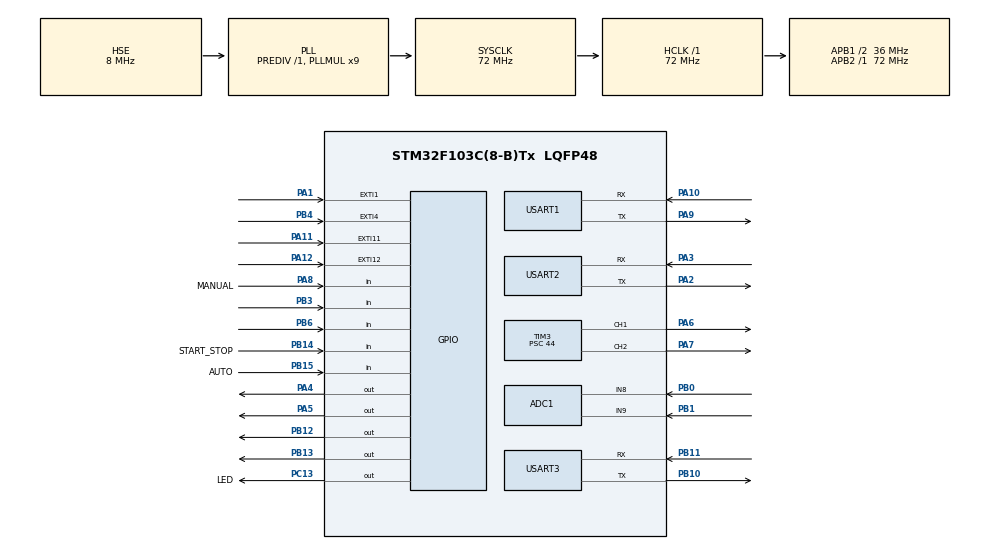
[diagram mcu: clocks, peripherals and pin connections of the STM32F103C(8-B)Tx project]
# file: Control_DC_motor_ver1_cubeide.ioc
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ADC1.Channel-1\#ChannelRegularConversion=ADC_CHANNEL_8
ADC1.Channel-2\#ChannelRegularConversion=ADC_CHANNEL_9
ADC1.ContinuousConvMode=ENABLE
ADC1.NbrOfConversion=2
ADC1.NbrOfConversionFlag=1
ADC1.Rank-1\#ChannelRegularConversion=1
ADC1.Rank-2\#ChannelRegularConversion=2
ADC1.SamplingTime-1\#ChannelRegularConversion=ADC_SAMPLETIME_239CYCLES_5
ADC1.SamplingTime-2\#ChannelRegularConversion=ADC_SAMPLETIME_239CYCLES_5
ADC1.master=1
Dma.ADC1.0.Direction=DMA_PERIPH_TO_MEMORY
Dma.ADC1.0.Instance=DMA1_Channel1
Dma.ADC1.0.MemDataAlignment=DMA_MDATAALIGN_HALFWORD
Dma.ADC1.0.MemInc=DMA_MINC_ENABLE
Dma.ADC1.0.Mode=DMA_CIRCULAR
Dma.ADC1.0.PeriphDataAlignment=DMA_PDATAALIGN_HALFWORD
Dma.ADC1.0.PeriphInc=DMA_PINC_DISABLE
Dma.ADC1.0.Priority=DMA_PRIORITY_LOW
Dma.Request0=ADC1
Mcu.Family=STM32F1
Mcu.Name=STM32F103C(8-B)Tx
Mcu.Package=LQFP48
NVIC.DMA1_Channel1_IRQn=true\:1\:0\:true\:false\:true\:false\:true\:true
NVIC.EXTI1_IRQn=true\:0\:0\:false\:false\:true\:true\:true\:true
NVIC.EXTI4_IRQn=true\:0\:0\:false\:false\:true\:true\:true\:true
NVIC.PriorityGroup=NVIC_PRIORITYGROUP_4
NVIC.TIM2_IRQn=true\:0\:0\:false\:false\:true\:true\:true\:true
NVIC.TIM4_IRQn=true\:1\:0\:true\:false\:true\:true\:true\:true
NVIC.USART1_IRQn=true\:0\:0\:true\:false\:true\:true\:true\:true
NVIC.USART2_IRQn=true\:0\:0\:true\:false\:true\:true\:true\:true
NVIC.USART3_IRQn=true\:0\:0\:true\:false\:true\:true\:true\:true
PA1.GPIO_ModeDefaultEXTI=GPIO_MODE_IT_RISING_FALLING
PA1.GPIO_PuPd=GPIO_PULLUP
PA1.Signal=GPXTI1
PA10.Mode=Asynchronous
PA10.Signal=USART1_RX
PA11.GPIO_ModeDefaultEXTI=GPIO_MODE_IT_RISING_FALLING
PA11.GPIO_PuPd=GPIO_PULLUP
PA11.Signal=GPXTI11
PA12.GPIO_ModeDefaultEXTI=GPIO_MODE_IT_RISING_FALLING
PA12.GPIO_PuPd=GPIO_PULLUP
PA12.Signal=GPXTI12
PA13.Mode=Serial_Wire
PA13.Signal=SYS_JTMS-SWDIO
PA14.Mode=Serial_Wire
PA14.Signal=SYS_JTCK-SWCLK
PA2.Mode=Asynchronous
PA2.Signal=USART2_TX
PA3.Mode=Asynchronous
PA3.Signal=USART2_RX
PA4.Signal=GPIO_Output
PA5.Signal=GPIO_Output
PA6.Signal=S_TIM3_CH1
PA7.Signal=S_TIM3_CH2
PA8.GPIO_Label=MANUAL
PA8.GPIO_PuPd=GPIO_PULLUP
PA8.Signal=GPIO_Input
PA9.Mode=Asynchronous
PA9.Signal=USART1_TX
PB0.Signal=ADCx_IN8
PB1.Signal=ADCx_IN9
PB10.Mode=Asynchronous
PB10.Signal=USART3_TX
PB11.Mode=Asynchronous
PB11.Signal=USART3_RX
PB12.Signal=GPIO_Output
PB13.Signal=GPIO_Output
PB14.GPIO_Label=START_STOP
PB14.GPIO_PuPd=GPIO_PULLUP
PB14.Signal=GPIO_Input
PB15.GPIO_Label=AUTO
PB15.GPIO_PuPd=GPIO_PULLUP
PB15.Signal=GPIO_Input
PB3.GPIO_PuPd=GPIO_PULLUP
PB3.Signal=GPIO_Input
PB4.GPIO_ModeDefaultEXTI=GPIO_MODE_IT_RISING_FALLING
PB4.GPIO_PuPd=GPIO_PULLUP
PB4.Signal=GPXTI4
PB6.GPIO_PuPd=GPIO_PULLUP
PB6.Signal=GPIO_Input
PC13-TAMPER-RTC.GPIO_Label=LED
PC13-TAMPER-RTC.Signal=GPIO_Output
PD0-OSC_IN.Mode=HSE-External-Oscillator
PD0-OSC_IN.Signal=RCC_OSC_IN
PD1-OSC_OUT.Mode=HSE-External-Oscillator
PD1-OSC_OUT.Signal=RCC_OSC_OUT
ProjectManager.HeapSize=0x200
ProjectManager.StackSize=0x400
ProjectManager.TargetToolchain=STM32CubeIDE
RCC.ADCPresc=RCC_ADCPCLK2_DIV6
RCC.AHBFreq_Value=72000000
RCC.APB1CLKDivider=RCC_HCLK_DIV2
RCC.APB1Freq_Value=36000000
RCC.APB1TimFreq_Value=72000000
RCC.APB2Freq_Value=72000000
RCC.APB2TimFreq_Value=72000000
RCC.HCLKFreq_Value=72000000
RCC.PLLMUL=RCC_PLL_MUL9
RCC.PLLSourceVirtual=RCC_PLLSOURCE_HSE
RCC.SYSCLKFreq_VALUE=72000000
RCC.SYSCLKSource=RCC_SYSCLKSOURCE_PLLCLK
RCC.USBFreq_Value=72000000
SH.ADCx_IN8.0=ADC1_IN8,IN8
SH.ADCx_IN9.0=ADC1_IN9,IN9
SH.S_TIM3_CH1.0=TIM3_CH1,PWM Generation1 CH1
SH.S_TIM3_CH2.0=TIM3_CH2,PWM Generation2 CH2
TIM2.Period=79
TIM2.Prescaler=35999
TIM3.Channel-PWM\ Generation1\ CH1=TIM_CHANNEL_1
TIM3.Channel-PWM\ Generation2\ CH2=TIM_CHANNEL_2
TIM3.Period=99
TIM3.Prescaler=44
TIM4.Period=19
TIM4.Prescaler=35999
USART1.VirtualMode=VM_ASYNC
USART2.VirtualMode=VM_ASYNC
USART3.VirtualMode=VM_ASYNC
VP_TIM2_VS_ClockSourceINT.Mode=Internal
VP_TIM4_VS_ClockSourceINT.Mode=Internal
board=custom

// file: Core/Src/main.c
/* USER CODE BEGIN Header */
/**
  ******************************************************************************
  * @file           : main.c
  * @brief          : đã cải thiện phần modify tuy nhiên phải chỉnh nếu như tốc độ là đi thẳng thì nên để offset là 0.02 còn khác nhau thì để là 0.01
  ******************************************************************************
  * @attention
  *
  * Copyright (c) 2025 STMicroelectronics.
  * All rights reserved.
  *
  * This software is licensed under terms that can be found in the LICENSE file
  * in the root directory of this software component.
  * If no LICENSE file comes with this software, it is provided AS-IS.
  *
  ******************************************************************************
  */
/* USER CODE END Header */
#include "main.h"

/* USER CODE BEGIN Includes */
#include "string.h"
#include "stdio.h"
#include "stdlib.h"
#include "math.h"
#include "stdbool.h"
#include "stdint.h"
/* USER CODE END Includes */

/* USER CODE BEGIN PTD */
#define pi 3.1415
#define p2r pi/2000
#define IN1_PIN GPIO_PIN_13
#define IN1_PORT GPIOB
#define IN2_PIN GPIO_PIN_12
#define IN2_PORT GPIOB
#define IN5_PIN GPIO_PIN_5
#define IN3_PORT GPIOA
#define IN4_PIN GPIO_PIN_4
#define IN4_PORT GPIOA
// Thêm define cho giá trị encoder
#define ENCODER_PPR 13.0f         // 13 xung/vòng trục động cơ
#define GEAR_RATIO 19.2f          // Tỉ số truyền
#define COUNTS_PER_REV (ENCODER_PPR * 2 * GEAR_RATIO) // 998.4 counts/vòng trục ra
#define UART_BUFFER_SIZE 50
#define UART_FRAME_SIZE 6
#define test false
/* USER CODE END PTD */

/* USER CODE BEGIN PM */
typedef struct {
    float err_p;
    float err_reset;
    float ui_p;
} PIDState;
typedef struct{
	float floatPresentX;
	float floatPresentY;
	float floatTheta;
}Coordinate;
typedef enum {
    ACTION_AUTO,
    ACTION_MANUAL,
    ACTION_SWASH,
	ACTION_UP,
	ACTION_DOWN,
	ACTION_RIGHT,
	ACTION_LEFT,
	ACTION_STOP,
    ACTION_DRY_WIPING,
	ACTION_WET_WIPING,
    ACTION_HOME_POINT,
    ACTION_HIGH_SPEED,
    ACTION_MEDIUM_SPEED,
    ACTION_LOW_SPEED,
    ACTION_NONE
} action_t;

// Bảng tra cứu ánh xạ chuỗi tới hành động
typedef struct {
    const char *command;
    action_t action;
} command_map_t;

// Bảng tra cứu các lệnh và hành động tương ứng
command_map_t command_map[] = {
    {"AUTO", ACTION_AUTO},
    {"MANUAL", ACTION_MANUAL},
    {"SWASH", ACTION_SWASH},
    {"7", ACTION_DRY_WIPING},
	{"6",ACTION_WET_WIPING},
    {"0", ACTION_HOME_POINT},
    {"H", ACTION_HIGH_SPEED},
    {"M", ACTION_MEDIUM_SPEED},
    {"L", ACTION_LOW_SPEED},
	{"1", ACTION_UP},
    {"2", ACTION_DOWN},
    {"3", ACTION_LEFT},
    {"4", ACTION_RIGHT},
    {"5", ACTION_STOP}
};
/* USER CODE END PM */

ADC_HandleTypeDef hadc1;
DMA_HandleTypeDef hdma_adc1;

TIM_HandleTypeDef htim2;
TIM_HandleTypeDef htim3;
TIM_HandleTypeDef htim4;

UART_HandleTypeDef huart1;
UART_HandleTypeDef huart2;
UART_HandleTypeDef huart3;

/* USER CODE BEGIN PV */
int32_t PosCnt_phai,Cnttmp_phai;
int16_t CountValue_phai=0,RealVel_phai,HILIM_phai = 100,LOLIM_phai = 0;
uint16_t CntVel_phai;
int8_t pwm_phai;
 float CurPos_phai=0,CurVel_phai;

int32_t PosCnt_trai,Cnttmp_trai;
int16_t CountValue_trai=0,RealVel_trai,HILIM_trai = 100,LOLIM_trai = 0;
uint16_t CntVel_trai;
int8_t pwm_trai;
float CurPos_trai=0,CurVel_trai;

float tmp_curvel_phai=0.0,tmp_curvel_trai=0.0;

float sampletime_phai = 0.05;
float sampletime_trai = 0.05;
float real_setpoint_phai, real_setpoint_trai;
PIDState pid_right = {0};
PIDState pid_left  = {0};
float Kd_phai =0,Ki_phai=4.0, Kp_phai= 4.152, Kb_phai=0.64;
//float Kd_phai =0,Ki_phai=0, Kp_phai= 0, Kb_phai=0;

float Kd_trai =0,Ki_trai=5.5, Kp_trai= 4.152, Kb_trai=0.81;
//float Kd_trai =0,Ki_trai=0, Kp_trai= 0, Kb_trai=0;
bool reset_pwmphai = false, reset_pwmtrai=false;

float floatWheelBase =0.568;
float floatWheelRadius = 0.0725;

float floatPresentDestinationCoordinate[2];

float floatDestinationCoordinate[20][2];
int8_t position =0;
float floatInitialPosition[2];

Coordinate CoordinateRobot={0.0f,0.0f,0.0f};

float floatAngleOfTheVector,floatAngleToRotate;

float floatOmegaErrorDefault = 0.01,floatOmegaSetpoint,floatOmegaSpeedDefault = 0.4;

float floatDistanceToGo,floatDistanceErrorDefault = 0.01,floatDistanceWent=0.02;
float floatUpdateDistanceWent_X=0, floatUpdateDistanceWent_Y=0;
int path_size = 0;

//---------------------------receive velocity from esp---------------------
char uart1_buffer[UART_BUFFER_SIZE];
uint8_t uart1_index = 0;
uint8_t data_ready_uart1 = 0;
uint8_t rx_data_uart1;
volatile float DesiredSpeed_trai=0.0f,DesiredSpeed_phai=0.0f;
//---------------------------receive velocity from esp---------------------

//---------------------------send real velocity to ros2--------------------
uint8_t tx_buf_stm32_ros2[23];
//---------------------------send real velocity to ros2--------------------
//---------------------------function: BRUSHING--------------------
uint8_t uart3_buffer[UART_BUFFER_SIZE];
uint8_t uart3_index = 0;
uint8_t data_ready_uart3 = 0;
uint8_t rx_data_uart3;
//---------------------------end function: BRUSHING--------------------
//---------------------------pc xuống-------------------------------
//char uart2_buffer[UART_BUFFER_SIZE];
//uint8_t uart2_index = 0;
//uint8_t data_ready_uart2 = 0;
uint8_t rx_data_uart2;
/*cải tiến nhận giá trị từ minipc*/

uint8_t uart2_rx_buffer[UART_FRAME_SIZE];
uint8_t uart2_rx_index = 0;
int16_t w_left,w_right;
//--------------------------manual and auto-----------------------------
bool 	is_auto							  = false;
bool	is_auto_app 					  = false;
bool    u8stop_wipe 					  = false;
bool    u8send_sWIPE 					  = false;

bool    bool_is_waiting_uart3 			  = false;

bool    boolSendWASHINGByUart3      	  = false;
bool    boolSendDRYWIPINGByUart3   		  = false;
bool	boolSendHOMEPointByUart3		  = false;
bool	boolSendHighSpeedByUart3		  = false;
bool	boolSendMediumSpeedByUart3		  = false;
bool	boolSendLowSpeedByUart3			  = false;

bool    boolReceivedSWASHByUart1		  = false;
bool	boolReceivedDryWipingByUart1	  = false;
bool	boolReceivedHomePointByUart1	  = false;
bool	boolReceivedHighSpeedByUart1	  = false;
bool	boolReceivedMediumSpeedByUart1	  = false;
bool	boolReceivedLowSpeedByUart1	 	  = false;
bool	boolReceivedWetWipingByUart1	  = false;

bool	boolReceivedEWASHByUart3		  = false;
bool	boolReceivedFBHOMEByUart3		  = false;
bool	boolReceivedWIPEDByUart3		  = false;

/*-------------------------Cam bien sieu am----------------------------*/
uint16_t u16ultrasonic_values[2];
uint32_t u32distance_s1=0,u32distance_s2=0; /*parameter: mm*/
bool bool_dodge = false;
bool bool_dodge_left  = false;
bool bool_adc_ready   = false;
/*------------------------Bảng điều khiển vật lí-----------------------*/

bool bool_is_start = false;
bool bool_is_auto_controller = false;

/*-----------------------he so loc nhieu EMA----------------------------*/
float previous_CntVel_phai = 0.0f;
float previous_CntVel_trai = 0.0f;
float alpha = 0.1f;
action_t action;
/**/

/* USER CODE END PV */

void SystemClock_Config(void);
static void MX_GPIO_Init(void);
static void MX_DMA_Init(void);
static void MX_TIM2_Init(void);
static void MX_TIM3_Init(void);
static void MX_TIM4_Init(void);
static void MX_USART1_UART_Init(void);
static void MX_USART3_UART_Init(void);
static void MX_USART2_UART_Init(void);
static void MX_ADC1_Init(void);

/* USER CODE BEGIN 0 */

int PIDVel(float DesiredValue, float CurrentValue,
           float kp, float ki, float kd, float kb,
           float sampletime,
           int hilim, int lolim,
           PIDState* state,bool reset);
float EMA_Filter(int current_value, float previous_value) ;
float Left_Modify_Setpoint(float setpoint);
float Right_Modify_Setpoint(float setpoint);
void sendCommand_uart1(char* cmd);
void sendCommand_uart3(char* cmd);
void Process_UART3_Data(char *cmd);
void Process_UART2_Data(float *left_speed, float *right_speed);
void perform_action(action_t action);
action_t get_action_from_buffer(const char *buffer);
void stopmotor();
void generate_U_path(float startX, float startY, float length, float width, float path[][2], int *path_size) ;
float normalize_theta(float theta);
void send_odometry_binary(float x, float y, float theta);
/* FILE is typedef'd in stdio.h. */
//---------------------------end setpoint modify----------------------------

/*=====================================các hàm khác=====================================*/

/* USER CODE END 0 */

int main(void)
{

  /* MCU Configuration--------------------------------------------------------*/

  /* Reset of all peripherals, Initializes the Flash interface and the Systick. */
  HAL_Init();

  /* Configure the system clock */
  SystemClock_Config();

  /* Initialize all configured peripherals */
  MX_GPIO_Init();
  MX_DMA_Init();
  MX_TIM2_Init();
  MX_TIM3_Init();
  MX_TIM4_Init();
  MX_USART1_UART_Init();
  MX_USART3_UART_Init();
  MX_USART2_UART_Init();
  MX_ADC1_Init();
  /* USER CODE BEGIN 2 */
  /* Khoi tao IN cua dong co*/
	HAL_GPIO_WritePin(IN1_PORT, IN1_PIN, GPIO_PIN_RESET);
	HAL_GPIO_WritePin(IN2_PORT, IN2_PIN, GPIO_PIN_RESET);
	HAL_GPIO_WritePin(IN3_PORT, IN5_PIN, GPIO_PIN_RESET);
	HAL_GPIO_WritePin(IN4_PORT, IN4_PIN, GPIO_PIN_RESET);

	HAL_TIM_Base_Start_IT(&htim2);				// khoi tao timer 2
	HAL_TIM_PWM_Start(&htim3, TIM_CHANNEL_2);	// khoi tao timer 3
	HAL_TIM_PWM_Start(&htim3, TIM_CHANNEL_1);	// khoi tao timer 3
	HAL_TIM_Base_Start_IT(&htim4);				// khoi tao timer 4

	HAL_UART_Receive_IT(&huart1,&rx_data_uart1,1);
	HAL_UART_Receive_IT(&huart2,&rx_data_uart2,1);
	HAL_UART_Receive_IT(&huart3,&rx_data_uart3,1);

	HAL_ADC_Start_DMA(&hadc1, (uint32_t*)u16ultrasonic_values, 2);
	  /*đọc các nút nhấn từ bảng điều khiển vật lí trên xe*/

	  /*nhấn nút start thì nếu trên app mode không trùng với trên bản điều khiển robot sẽ không chạy */

  /* USER CODE END 2 */

  /* Infinite loop */
  while (1)
  {

    /* USER CODE BEGIN 3 */
	  /* Đọc giá trị adc bằng cản biến siêu âm < 0.25m thì động cơ dừng (kích cờ bool_dodge để set cho xe dừng  */
#if(test == false)
	  if(bool_adc_ready)
	  {
		bool_adc_ready = false;
		u32distance_s1 = (uint32_t)(((float)u16ultrasonic_values[0] * 3.3f / 4096.0f) * 1000.0f);
		u32distance_s2 = (uint32_t)(((float)u16ultrasonic_values[1] * 3.3f / 4096.0f) * 1000.0f);
		if (u32distance_s1 < 100 || u32distance_s2 < 100) {
			stopmotor();
		}
	  }

	  /*Nhận chuỗi từ esp32 và trả về esp32 để kiểm tra xem đã họat động chưa*/

#if (is_auto == true)
	  if(1 == data_ready_uart1)
	  {
	      data_ready_uart1 = 0;
	      action = get_action_from_buffer(uart1_buffer);
	      perform_action(action);
	  }
	  /*kiểm tra xem mode trên app và mode trên bảng điều khiển */
	  /*cần thêm một chuỗi uart báo mode chưa có trùng nhau*/
	  if (true == is_auto_app || true == bool_is_auto_controller)
	  {
		  is_auto = true;
	  }
	  else if(false == is_auto_app || false == bool_is_auto_controller)
	  {
		  is_auto = false;
	  }

#endif

	  		/*MANUAL MODE*/
#if(is_auto == false)
	  		{
	  			if (data_ready_uart1 && !boolReceivedSWASHByUart1 && !bool_dodge)
	  			{
	  				perform_action(action);
	  				data_ready_uart1 = 0;
	  			}
	  			/*--------------end cac mode co ban ----------------*/
	  			if (boolReceivedSWASHByUart1)
	  			{
	  				stopmotor();
	  				/*gửi lệnh để cho stm2 thực hiện chế độ giặt giẻ*/
	  	        	sendCommand_uart3("SWASH\n");
	  	        	boolReceivedSWASHByUart1 = false;
	  			}
	  			else if(boolReceivedEWASHByUart3)	{
	  	        	/*gửi lại tín hiệu để báo nhấn nút giặt rồi*/
	  	            /*khi chưa nhận được tín hiệu đã kết thúc quá trình giặt*/
	  				sendCommand_uart1("8");
	  				boolReceivedEWASHByUart3 = false;
	  			}
	  			/*che do lau kho hoac uot*/
	  			else if (boolReceivedDryWipingByUart1)
	  			{
	  				sendCommand_uart3("7\n");
	  				boolReceivedDryWipingByUart1 = false;
	  			}
	  			else if (boolReceivedWetWipingByUart1)
	  			{
	  				sendCommand_uart3("6\n");
	  				boolReceivedWetWipingByUart1 = false;
	  			}

	  			/*che do lau manh=>yeu*/
	  			else if (boolReceivedHighSpeedByUart1)
	  			{
	  				sendCommand_uart3("H\n");
	  				boolReceivedHighSpeedByUart1 = false;
	  			}
	  			else if (boolReceivedMediumSpeedByUart1)
	  			{
	  				sendCommand_uart3("M\n");
	  				boolReceivedMediumSpeedByUart1 = false;
	  			}
	  			else if (boolReceivedLowSpeedByUart1)
	  			{
	  				sendCommand_uart3("L\n");
	  				boolReceivedLowSpeedByUart1 = false;
	  			}
	  			/*Check da lau ok chua*/
	  			else if(boolReceivedWIPEDByUart3)
	  			{
	  				sendCommand_uart1("W");
	  				boolReceivedWIPEDByUart3 = false;
	  			}
	  			/*Quay ve diem Home*/
	  			else if (boolReceivedHomePointByUart1)
	  			{
	  				sendCommand_uart3("0\n");
	  				boolReceivedHomePointByUart1 = false;
	  			}

	  		}
#endif
#endif
#if (test == false)
	  	  if(1 == data_ready_uart1)
	  	  {
	  	      data_ready_uart1 = 0;
	  	      action = get_action_from_buffer(uart1_buffer);
	  	      perform_action(action);
	  	  }
#endif
  }
  /* USER CODE END 3 */
}

void SystemClock_Config(void)
{
  RCC_OscInitTypeDef RCC_OscInitStruct = {0};
  RCC_ClkInitTypeDef RCC_ClkInitStruct = {0};
  RCC_PeriphCLKInitTypeDef PeriphClkInit = {0};

  /** Initializes the RCC Oscillators according to the specified parameters
  * in the RCC_OscInitTypeDef structure.
  */
  RCC_OscInitStruct.OscillatorType = RCC_OSCILLATORTYPE_HSE;
  RCC_OscInitStruct.HSEState = RCC_HSE_ON;
  RCC_OscInitStruct.HSEPredivValue = RCC_HSE_PREDIV_DIV1;
  RCC_OscInitStruct.HSIState = RCC_HSI_ON;
  RCC_OscInitStruct.PLL.PLLState = RCC_PLL_ON;
  RCC_OscInitStruct.PLL.PLLSource = RCC_PLLSOURCE_HSE;
  RCC_OscInitStruct.PLL.PLLMUL = RCC_PLL_MUL9;
  if (HAL_RCC_OscConfig(&RCC_OscInitStruct) != HAL_OK)
  {
    Error_Handler();
  }

  /** Initializes the CPU, AHB and APB buses clocks
  */
  RCC_ClkInitStruct.ClockType = RCC_CLOCKTYPE_HCLK|RCC_CLOCKTYPE_SYSCLK
                              |RCC_CLOCKTYPE_PCLK1|RCC_CLOCKTYPE_PCLK2;
  RCC_ClkInitStruct.SYSCLKSource = RCC_SYSCLKSOURCE_PLLCLK;
  RCC_ClkInitStruct.AHBCLKDivider = RCC_SYSCLK_DIV1;
  RCC_ClkInitStruct.APB1CLKDivider = RCC_HCLK_DIV2;
  RCC_ClkInitStruct.APB2CLKDivider = RCC_HCLK_DIV1;

  if (HAL_RCC_ClockConfig(&RCC_ClkInitStruct, FLASH_LATENCY_2) != HAL_OK)
  {
    Error_Handler();
  }
  PeriphClkInit.PeriphClockSelection = RCC_PERIPHCLK_ADC;
  PeriphClkInit.AdcClockSelection = RCC_ADCPCLK2_DIV6;
  if (HAL_RCCEx_PeriphCLKConfig(&PeriphClkInit) != HAL_OK)
  {
    Error_Handler();
  }
}

static void MX_ADC1_Init(void)
{

  ADC_ChannelConfTypeDef sConfig = {0};

  /** Common config
  */
  hadc1.Instance = ADC1;
  hadc1.Init.ScanConvMode = ADC_SCAN_ENABLE;
  hadc1.Init.ContinuousConvMode = ENABLE;
  hadc1.Init.DiscontinuousConvMode = DISABLE;
  hadc1.Init.ExternalTrigConv = ADC_SOFTWARE_START;
  hadc1.Init.DataAlign = ADC_DATAALIGN_RIGHT;
  hadc1.Init.NbrOfConversion = 2;
  if (HAL_ADC_Init(&hadc1) != HAL_OK)
  {
    Error_Handler();
  }

  /** Configure Regular Channel
  */
  sConfig.Channel = ADC_CHANNEL_8;
  sConfig.Rank = ADC_REGULAR_RANK_1;
  sConfig.SamplingTime = ADC_SAMPLETIME_239CYCLES_5;
  if (HAL_ADC_ConfigChannel(&hadc1, &sConfig) != HAL_OK)
  {
    Error_Handler();
  }

  /** Configure Regular Channel
  */
  sConfig.Channel = ADC_CHANNEL_9;
  sConfig.Rank = ADC_REGULAR_RANK_2;
  if (HAL_ADC_ConfigChannel(&hadc1, &sConfig) != HAL_OK)
  {
    Error_Handler();
  }

}

static void MX_TIM2_Init(void)
{

  TIM_ClockConfigTypeDef sClockSourceConfig = {0};
  TIM_MasterConfigTypeDef sMasterConfig = {0};

  htim2.Instance = TIM2;
  htim2.Init.Prescaler = 35999;
  htim2.Init.CounterMode = TIM_COUNTERMODE_UP;
  htim2.Init.Period = 79;
  htim2.Init.ClockDivision = TIM_CLOCKDIVISION_DIV1;
  htim2.Init.AutoReloadPreload = TIM_AUTORELOAD_PRELOAD_DISABLE;
  if (HAL_TIM_Base_Init(&htim2) != HAL_OK)
  {
    Error_Handler();
  }
  sClockSourceConfig.ClockSource = TIM_CLOCKSOURCE_INTERNAL;
  if (HAL_TIM_ConfigClockSource(&htim2, &sClockSourceConfig) != HAL_OK)
  {
    Error_Handler();
  }
  sMasterConfig.MasterOutputTrigger = TIM_TRGO_RESET;
  sMasterConfig.MasterSlaveMode = TIM_MASTERSLAVEMODE_DISABLE;
  if (HAL_TIMEx_MasterConfigSynchronization(&htim2, &sMasterConfig) != HAL_OK)
  {
    Error_Handler();
  }

}

static void MX_TIM3_Init(void)
{

  TIM_MasterConfigTypeDef sMasterConfig = {0};
  TIM_OC_InitTypeDef sConfigOC = {0};

  htim3.Instance = TIM3;
  htim3.Init.Prescaler = 44;
  htim3.Init.CounterMode = TIM_COUNTERMODE_UP;
  htim3.Init.Period = 99;
  htim3.Init.ClockDivision = TIM_CLOCKDIVISION_DIV1;
  htim3.Init.AutoReloadPreload = TIM_AUTORELOAD_PRELOAD_DISABLE;
  if (HAL_TIM_PWM_Init(&htim3) != HAL_OK)
  {
    Error_Handler();
  }
  sMasterConfig.MasterOutputTrigger = TIM_TRGO_RESET;
  sMasterConfig.MasterSlaveMode = TIM_MASTERSLAVEMODE_DISABLE;
  if (HAL_TIMEx_MasterConfigSynchronization(&htim3, &sMasterConfig) != HAL_OK)
  {
    Error_Handler();
  }
  sConfigOC.OCMode = TIM_OCMODE_PWM1;
  sConfigOC.Pulse = 0;
  sConfigOC.OCPolarity = TIM_OCPOLARITY_HIGH;
  sConfigOC.OCFastMode = TIM_OCFAST_DISABLE;
  if (HAL_TIM_PWM_ConfigChannel(&htim3, &sConfigOC, TIM_CHANNEL_1) != HAL_OK)
  {
    Error_Handler();
  }
  if (HAL_TIM_PWM_ConfigChannel(&htim3, &sConfigOC, TIM_CHANNEL_2) != HAL_OK)
  {
    Error_Handler();
  }
  HAL_TIM_MspPostInit(&htim3);

}

static void MX_TIM4_Init(void)
{

  TIM_ClockConfigTypeDef sClockSourceConfig = {0};
  TIM_MasterConfigTypeDef sMasterConfig = {0};

  htim4.Instance = TIM4;
  htim4.Init.Prescaler = 35999;
  htim4.Init.CounterMode = TIM_COUNTERMODE_UP;
  htim4.Init.Period = 19;
  htim4.Init.ClockDivision = TIM_CLOCKDIVISION_DIV1;
  htim4.Init.AutoReloadPreload = TIM_AUTORELOAD_PRELOAD_DISABLE;
  if (HAL_TIM_Base_Init(&htim4) != HAL_OK)
  {
    Error_Handler();
  }
  sClockSourceConfig.ClockSource = TIM_CLOCKSOURCE_INTERNAL;
  if (HAL_TIM_ConfigClockSource(&htim4, &sClockSourceConfig) != HAL_OK)
  {
    Error_Handler();
  }
  sMasterConfig.MasterOutputTrigger = TIM_TRGO_RESET;
  sMasterConfig.MasterSlaveMode = TIM_MASTERSLAVEMODE_DISABLE;
  if (HAL_TIMEx_MasterConfigSynchronization(&htim4, &sMasterConfig) != HAL_OK)
  {
    Error_Handler();
  }

}

static void MX_USART1_UART_Init(void)
{

  huart1.Instance = USART1;
  huart1.Init.BaudRate = 115200;
  huart1.Init.WordLength = UART_WORDLENGTH_8B;
  huart1.Init.StopBits = UART_STOPBITS_1;
  huart1.Init.Parity = UART_PARITY_NONE;
  huart1.Init.Mode = UART_MODE_TX_RX;
  huart1.Init.HwFlowCtl = UART_HWCONTROL_NONE;
  huart1.Init.OverSampling = UART_OVERSAMPLING_16;
  if (HAL_UART_Init(&huart1) != HAL_OK)
  {
    Error_Handler();
  }

}

static void MX_USART2_UART_Init(void)
{

  huart2.Instance = USART2;
  huart2.Init.BaudRate = 115200;
  huart2.Init.WordLength = UART_WORDLENGTH_8B;
  huart2.Init.StopBits = UART_STOPBITS_1;
  huart2.Init.Parity = UART_PARITY_NONE;
  huart2.Init.Mode = UART_MODE_TX_RX;
  huart2.Init.HwFlowCtl = UART_HWCONTROL_NONE;
  huart2.Init.OverSampling = UART_OVERSAMPLING_16;
  if (HAL_UART_Init(&huart2) != HAL_OK)
  {
    Error_Handler();
  }

}

static void MX_USART3_UART_Init(void)
{

  huart3.Instance = USART3;
  huart3.Init.BaudRate = 115200;
  huart3.Init.WordLength = UART_WORDLENGTH_8B;
  huart3.Init.StopBits = UART_STOPBITS_1;
  huart3.Init.Parity = UART_PARITY_NONE;
  huart3.Init.Mode = UART_MODE_TX_RX;
  huart3.Init.HwFlowCtl = UART_HWCONTROL_NONE;
  huart3.Init.OverSampling = UART_OVERSAMPLING_16;
  if (HAL_UART_Init(&huart3) != HAL_OK)
  {
    Error_Handler();
  }

}

static void MX_DMA_Init(void)
{

  /* DMA controller clock enable */
  __HAL_RCC_DMA1_CLK_ENABLE();

  /* DMA interrupt init */
  /* DMA1_Channel1_IRQn interrupt configuration */
  HAL_NVIC_SetPriority(DMA1_Channel1_IRQn, 1, 0);
  HAL_NVIC_EnableIRQ(DMA1_Channel1_IRQn);

}

static void MX_GPIO_Init(void)
{
  GPIO_InitTypeDef GPIO_InitStruct = {0};

  /* GPIO Ports Clock Enable */
  __HAL_RCC_GPIOC_CLK_ENABLE();
  __HAL_RCC_GPIOD_CLK_ENABLE();
  __HAL_RCC_GPIOA_CLK_ENABLE();
  __HAL_RCC_GPIOB_CLK_ENABLE();

  /*Configure GPIO pin Output Level */
  HAL_GPIO_WritePin(LED_GPIO_Port, LED_Pin, GPIO_PIN_RESET);

  /*Configure GPIO pin Output Level */
  HAL_GPIO_WritePin(GPIOA, GPIO_PIN_4|GPIO_PIN_5, GPIO_PIN_RESET);

  /*Configure GPIO pin Output Level */
  HAL_GPIO_WritePin(GPIOB, GPIO_PIN_12|GPIO_PIN_13, GPIO_PIN_RESET);

  /*Configure GPIO pin : LED_Pin */
  GPIO_InitStruct.Pin = LED_Pin;
  GPIO_InitStruct.Mode = GPIO_MODE_OUTPUT_PP;
  GPIO_InitStruct.Pull = GPIO_NOPULL;
  GPIO_InitStruct.Speed = GPIO_SPEED_FREQ_LOW;
  HAL_GPIO_Init(LED_GPIO_Port, &GPIO_InitStruct);

  /*Configure GPIO pins : PA1 PA11 PA12 */
  GPIO_InitStruct.Pin = GPIO_PIN_1|GPIO_PIN_11|GPIO_PIN_12;
  GPIO_InitStruct.Mode = GPIO_MODE_IT_RISING_FALLING;
  GPIO_InitStruct.Pull = GPIO_PULLUP;
  HAL_GPIO_Init(GPIOA, &GPIO_InitStruct);

  /*Configure GPIO pins : PA4 PA5 */
  GPIO_InitStruct.Pin = GPIO_PIN_4|GPIO_PIN_5;
  GPIO_InitStruct.Mode = GPIO_MODE_OUTPUT_PP;
  GPIO_InitStruct.Pull = GPIO_NOPULL;
  GPIO_InitStruct.Speed = GPIO_SPEED_FREQ_LOW;
  HAL_GPIO_Init(GPIOA, &GPIO_InitStruct);

  /*Configure GPIO pins : PB12 PB13 */
  GPIO_InitStruct.Pin = GPIO_PIN_12|GPIO_PIN_13;
  GPIO_InitStruct.Mode = GPIO_MODE_OUTPUT_PP;
  GPIO_InitStruct.Pull = GPIO_NOPULL;
  GPIO_InitStruct.Speed = GPIO_SPEED_FREQ_LOW;
  HAL_GPIO_Init(GPIOB, &GPIO_InitStruct);

  /*Configure GPIO pins : START_STOP_Pin AUTO_Pin PB3 PB6 */
  GPIO_InitStruct.Pin = START_STOP_Pin|AUTO_Pin|GPIO_PIN_3|GPIO_PIN_6;
  GPIO_InitStruct.Mode = GPIO_MODE_INPUT;
  GPIO_InitStruct.Pull = GPIO_PULLUP;
  HAL_GPIO_Init(GPIOB, &GPIO_InitStruct);

  /*Configure GPIO pin : MANUAL_Pin */
  GPIO_InitStruct.Pin = MANUAL_Pin;
  GPIO_InitStruct.Mode = GPIO_MODE_INPUT;
  GPIO_InitStruct.Pull = GPIO_PULLUP;
  HAL_GPIO_Init(MANUAL_GPIO_Port, &GPIO_InitStruct);

  /*Configure GPIO pin : PB4 */
  GPIO_InitStruct.Pin = GPIO_PIN_4;
  GPIO_InitStruct.Mode = GPIO_MODE_IT_RISING_FALLING;
  GPIO_InitStruct.Pull = GPIO_PULLUP;
  HAL_GPIO_Init(GPIOB, &GPIO_InitStruct);

  /* EXTI interrupt init*/
  HAL_NVIC_SetPriority(EXTI1_IRQn, 0, 0);
  HAL_NVIC_EnableIRQ(EXTI1_IRQn);

  HAL_NVIC_SetPriority(EXTI4_IRQn, 0, 0);
  HAL_NVIC_EnableIRQ(EXTI4_IRQn);

}

/* USER CODE BEGIN 4 */
// Hàm ánh xạ các chuỗi đến hành động
action_t get_action_from_buffer(const char *buffer) {
    for (int i = 0; i < sizeof(command_map) / sizeof(command_map[0]); i++) {
        if (strstr(buffer, command_map[i].command) != NULL) {
            return command_map[i].action;
        }
    }
    return ACTION_NONE;
}

// Hàm thực hiện hành động theo mã hành động
void perform_action(action_t action) {
    switch (action) {
        case ACTION_AUTO:
            is_auto_app = true;
            sendCommand_uart3("AUTO\n");
            sendCommand_uart1("5");
            break;
        case ACTION_MANUAL:
            is_auto_app = false;
            sendCommand_uart3("MANUAL\n");
            sendCommand_uart1("6");
            break;
        case ACTION_SWASH:
            boolReceivedSWASHByUart1 = 1;
            sendCommand_uart1("8");
            break;
        case ACTION_DRY_WIPING:
            boolReceivedDryWipingByUart1 = true;
            sendCommand_uart1("9");
            break;
        case ACTION_WET_WIPING:
            boolReceivedWetWipingByUart1 = true;
            sendCommand_uart1("7");
            break;
        case ACTION_HOME_POINT:
            boolReceivedHomePointByUart1 = true;
            break;
        case ACTION_HIGH_SPEED:
            boolReceivedHighSpeedByUart1 = true;
            break;
        case ACTION_MEDIUM_SPEED:
            boolReceivedMediumSpeedByUart1 = true;
            break;
        case ACTION_LOW_SPEED:
            boolReceivedLowSpeedByUart1 = true;
            break;
        case ACTION_UP:
            DesiredSpeed_phai = 8.257;
            DesiredSpeed_trai = 8.257;
            break;
        case ACTION_DOWN:
            DesiredSpeed_phai = -8.257;
            DesiredSpeed_trai = -8.257;
            break;
        case ACTION_RIGHT:
            DesiredSpeed_phai = -1.567;
            DesiredSpeed_trai = 1.567;
            break;
        case ACTION_LEFT:
            DesiredSpeed_phai = 1.567;
            DesiredSpeed_trai = -1.567;
            break;
        case ACTION_STOP:
            DesiredSpeed_phai = 0.0;
            DesiredSpeed_trai = 0.0;
            break;
        default:
            break;
    }
}

//void Process_UART2_Data(float *left_speed, float *right_speed)
//{
//    char *l_ptr = strchr(uart2_buffer, 'L');
//    char *r_ptr = strchr(uart2_buffer, 'R');
//
//    if (l_ptr && r_ptr && r_ptr > l_ptr) {
//        *left_speed = atof(l_ptr + 1);
//        *right_speed = atof(r_ptr + 1);
//    }
//
//    if (strstr(uart2_buffer, "eWIPE") != NULL) {
//        u8stop_wipe = 1;
//    }
//}

void Process_UART3_Data(char *cmd){
    if (strcmp(cmd, "sWIPE") == 0)
    {
    	u8stop_wipe=0;
    	u8send_sWIPE=1;
    	boolReceivedSWASHByUart1 = false;
    }
    else if (strcmp(cmd,"sWASH"))
	{
    	boolSendWASHINGByUart3 = true;
	}
    else if (strcmp(cmd,"HOME"))
	{
    	/*Reset cho Nhan home them mot lan nua*/
    	boolReceivedHomePointByUart1 = false;
	}
}

void sendCommand_uart3(char* cmd)
{
    HAL_UART_Transmit(&huart3, (uint8_t*)cmd, strlen(cmd), HAL_MAX_DELAY);
}

void sendCommand_uart1(char* cmd)
{
    HAL_UART_Transmit(&huart1, (uint8_t*)cmd, strlen(cmd), HAL_MAX_DELAY);
}

//--------------------------------------------manual and auto-------------------------------------

//------------------------------------------- end manual and auto---------------------------------
// -----------------------------------------Ham ngat Uart------------------------------------------
void HAL_UART_RxCpltCallback(UART_HandleTypeDef *huart)
{
    if (huart->Instance == USART1)
    {
        if (rx_data_uart1 == '\n' || uart1_index >= UART_BUFFER_SIZE - 1)
        {
            uart1_buffer[uart1_index] = '\0';
            uart1_index = 0;
        	//memset(uart1_buffer, 0, UART_BUFFER_SIZE);
            data_ready_uart1 = 1;
        }
        else
        {
            uart1_buffer[uart1_index++] = rx_data_uart1;
        }

        HAL_UART_Receive_IT(&huart1, &rx_data_uart1, 1); // tiếp tục nhận byte tiếp theo
    }
    if (huart->Instance == USART2)
    {
        uart2_rx_buffer[uart2_rx_index++] = rx_data_uart2;

        if (uart2_rx_index == 1 && uart2_rx_buffer[0] != 0xAA) {
            uart2_rx_index = 0;
        }
        else if (uart2_rx_index >= UART_FRAME_SIZE)
        {
            uart2_rx_index = 0;

            if (uart2_rx_buffer[5] == 0xFE)
            {
                 w_left = (int16_t)(uart2_rx_buffer[1] | (uart2_rx_buffer[2] << 8));
                 w_right = (int16_t)(uart2_rx_buffer[3] | (uart2_rx_buffer[4] << 8));

                DesiredSpeed_trai = w_left / 1000.0f;
                DesiredSpeed_phai = w_right / 1000.0f;
            }
        }

        // Luôn nhận tiếp byte mới
        HAL_UART_Receive_IT(&huart2, &rx_data_uart2, 1);
    }
    if (huart->Instance == USART3)
    {
        if (rx_data_uart3 == '\n' || uart3_index >= UART_BUFFER_SIZE - 1)
        {
            uart3_buffer[uart3_index] = '\0';
            uart3_index = 0;
            data_ready_uart3 = 1;
        }
        else
        {
            uart3_buffer[uart3_index++] = rx_data_uart3;
        }
        HAL_UART_Receive_IT(&huart3, &rx_data_uart3, 1); // tiếp tục nhận byte tiếp theo
    }
}

// -----------------------------------------End-Ham ngat Uart------------------------------------------
//------------------------------------------encoder cho banh phai--------------------------------------
void EXTI4_IRQHandler(void)
{
    /* USER CODE BEGIN EXTI4_IRQn 0 */

    // Đọc trạng thái của 2 chân encoder
    uint8_t chA = HAL_GPIO_ReadPin(GPIOB, GPIO_PIN_4);  // Channel A (gây ngắt)
    uint8_t chB = HAL_GPIO_ReadPin(GPIOB, GPIO_PIN_6);  // Channel B

    // Xác định hướng quay và tăng/giảm biến đếm
    if (chA == GPIO_PIN_SET) {
        if (chB == GPIO_PIN_RESET) CountValue_phai--;   // Forward
        else CountValue_phai++;                         // Reverse
    } else {
        if (chB == GPIO_PIN_SET) CountValue_phai--;     // Forward
        else CountValue_phai++;                         // Reverse
    }

    CntVel_phai++;  // Đếm xung để tính tốc độ

    // Xử lý rollover
    if (CountValue_phai >= COUNTS_PER_REV) {
        CountValue_phai -= COUNTS_PER_REV;
        PosCnt_phai++;
    }
    else if (CountValue_phai <= -COUNTS_PER_REV) {
        CountValue_phai += COUNTS_PER_REV;
        PosCnt_phai--;
    }

    /* USER CODE END EXTI4_IRQn 0 */
    HAL_GPIO_EXTI_IRQHandler(GPIO_PIN_4);  // Clear interrupt flag for PB4
    /* USER CODE BEGIN EXTI4_IRQn 1 */
}

//----------------------------end encoder cho banh phai------------------------------------
//----------------------------encoder cho banh trai---------------------------------
void EXTI1_IRQHandler(void)
{
    /* USER CODE BEGIN EXTI2_IRQn 0 */

    // Đọc trạng thái của 2 chân encoder
    uint8_t chA = HAL_GPIO_ReadPin(GPIOA, GPIO_PIN_1);  // Channel A (PA1 - gây ngắt)
    uint8_t chB = HAL_GPIO_ReadPin(GPIOB, GPIO_PIN_3);  // Channel B (PA3 - chỉ đọc)

    // Xác định hướng quay
    if (chA == GPIO_PIN_SET) {
        if (chB == GPIO_PIN_RESET) CountValue_trai--;   // Forward
        else CountValue_trai++;                         // Reverse
    } else {
        if (chB == GPIO_PIN_SET) CountValue_trai--;     // Forward
        else CountValue_trai++;                         // Reverse
    }

    CntVel_trai++;  // Đếm xung để tính tốc độ

    // Xử lý rollover
    if (CountValue_trai >= COUNTS_PER_REV) {
        CountValue_trai -= COUNTS_PER_REV;
        PosCnt_trai--;
    }
    else if (CountValue_trai <= -COUNTS_PER_REV) {
        CountValue_trai += COUNTS_PER_REV;
        PosCnt_trai++;
    }

    /* USER CODE END EXTI2_IRQn 0 */
    HAL_GPIO_EXTI_IRQHandler(GPIO_PIN_1);  // Clear interrupt flag for PA2
    /* USER CODE BEGIN EXTI2_IRQn 1 */
}
//----------------------------------end encoder banh trai--------------------------------
//----------------------------------PID-------------------------------------------------
int PIDVel(float DesiredValue, float CurrentValue,
           float kp, float ki, float kd, float kb,
           float sampletime,
           int hilim, int lolim,
           PIDState* state,bool reset)
{
    float err, up, ud, ui;
    int uout, uout_hat;

    err = DesiredValue - CurrentValue;

    up = kp * err;
    ud = kd * (err - state->err_p) / sampletime;
    ui = state->ui_p + (ki * err + kb * state->err_reset) * sampletime;

    // Cập nhật trạng thái
    state->err_p = err;
    state->ui_p = ui;

    // Tổng PID
    uout = (int)(up + ud + ui);
    uout_hat = uout;

    // Anti-windup
    if (uout > hilim) {
        uout_hat = hilim;
    } else if (uout < lolim) {
        uout_hat = lolim;
    }

    // Cập nhật err_reset để dùng lần sau
    state->err_reset = uout_hat - uout;

    return uout_hat;
}
//----------------------------------end-PID-------------------------------------------------
//----------------------------------modify-setpoint-----------------------------------------
float Left_Modify_Setpoint(float setpoint) {
    static float present_setpoint = 0;
    static float output = 0;
    const float offset = 0.02;

    if (setpoint == 0) {
        present_setpoint = 0;
        return 0;
    }

    if (setpoint * output < 0) {
        output = 0;
        present_setpoint = 0;
        return 0;
    }

		if (present_setpoint < fabsf(setpoint)) {
				present_setpoint += offset;
		} else if (present_setpoint > fabsf(setpoint)) {
				present_setpoint = (present_setpoint - fabsf(setpoint) > offset)
												 ? present_setpoint - offset
												 : fabsf(setpoint);
		}

    output = (setpoint >= 0) ? present_setpoint : -present_setpoint;
    return output;
}

float Right_Modify_Setpoint(float setpoint) {
    static float present_setpoint = 0;
    static float output = 0;
    const float offset = 0.02;

    if (setpoint == 0) {
        present_setpoint = 0;
        return 0;
    }

    if (setpoint * output < 0) {
        output = 0;
        present_setpoint = 0;
        return 0;
    }

		if (present_setpoint < fabsf(setpoint)) {
				present_setpoint += offset;
		} else if (present_setpoint > fabsf(setpoint)) {
				present_setpoint = (present_setpoint - fabsf(setpoint) > offset)
												 ? present_setpoint - offset
												 : fabsf(setpoint);
		}

    output = (setpoint >= 0) ? present_setpoint : -present_setpoint;
    return output;
}
void HAL_TIM_PeriodElapsedCallback(TIM_HandleTypeDef *htim) {
    if(htim->Instance==TIM4) {
       // Thoi gian lay mau
        const float sampling_time = 0.01;

        // Tinh toan vi tri
        float filtered_CntVel_phai = EMA_Filter(CntVel_phai, previous_CntVel_phai);
        float filtered_CntVel_trai = EMA_Filter(CntVel_trai, previous_CntVel_trai);

        previous_CntVel_phai = filtered_CntVel_phai;
        previous_CntVel_trai = filtered_CntVel_trai;

        CurPos_phai = (PosCnt_phai + (CountValue_phai/COUNTS_PER_REV)) * (2.0 * pi); // Vị trí tính bằng radian
        CurPos_trai = (PosCnt_trai + (CountValue_trai/COUNTS_PER_REV)) * (2.0 * pi); // Vị trí tính bằng radian

        // Tinh toan van toc
        float rpm_phai = (filtered_CntVel_phai * (60.0f/sampling_time)) / COUNTS_PER_REV; // vòng/phút
		float rpm_trai = (filtered_CntVel_trai * (60.0f/sampling_time)) / COUNTS_PER_REV; // vòng/phút

        CurVel_phai = rpm_phai * (2.0 * pi) / 60.0; // Chuyển sang rad/s
		CurVel_trai = rpm_trai * (2.0 * pi) / 60.0; // Chuyển sang rad/s

        Cnttmp_phai = CntVel_phai;       // Lưu giá trị đếm
		Cnttmp_trai = CntVel_trai;       // Lưu giá trị đếm

        CntVel_phai = 0;            // Reset bộ đếm
        CntVel_trai = 0;            // Reset bộ đếm

        if(DesiredSpeed_phai ==0 && DesiredSpeed_trai ==0){
        	pid_left.err_p=0.0f;
        	pid_left.err_reset=0.0f;
        	pid_left.ui_p=0.0f;
        	pid_right.err_p=0.0f;
        	pid_right.err_reset=0.0f;
        	pid_right.ui_p=0.0f;
        }
     if (fabs(DesiredSpeed_phai - DesiredSpeed_trai) < 0.05f && (DesiredSpeed_phai!=0 && DesiredSpeed_trai!=0)) {
		  static float filtered_diff = 0;
		  static float previous_diff = 0;
		  static int sync_counter = 0;
		  float vel_diff = CurVel_phai - CurVel_trai;
		  float alpha_filter = 0.4f;
		  filtered_diff = alpha_filter * vel_diff + (1 - alpha_filter) * previous_diff;
		  previous_diff = filtered_diff;

		  sync_counter++;
		  if (sync_counter >= 1) {
			  sync_counter = 0;

			  float diff_threshold = 0.1f;         // ngưỡng sai lệch
			  float k_sync = 0.5f;                 // hệ số bù
			  float max_correction = 1.5f;         // giới hạn bù

			  float diff_cmd = DesiredSpeed_phai -DesiredSpeed_trai;
			  if(fabs(diff_cmd)<0.01f){
				  if (fabsf(filtered_diff) > diff_threshold) {
					  float correction = k_sync * filtered_diff;

					  if (correction > max_correction) correction = max_correction;
					  else if (correction < -max_correction) correction = -max_correction;

					  float base_speed = (DesiredSpeed_phai + DesiredSpeed_trai) / 2.0f;
					  DesiredSpeed_phai = base_speed - correction;
					  DesiredSpeed_trai = base_speed + correction;
				  }
			  }
		  }
     }

	  /*cập nhật theta và vị trí của robot*/

		real_setpoint_phai = Right_Modify_Setpoint(DesiredSpeed_phai);
		real_setpoint_trai = Left_Modify_Setpoint(DesiredSpeed_trai);

		if (real_setpoint_phai < 0) {
				real_setpoint_phai = -real_setpoint_phai;
		}
		if (real_setpoint_trai < 0) {
				real_setpoint_trai = -real_setpoint_trai;
		}
		pwm_phai=PIDVel(real_setpoint_phai, CurVel_phai,
			  Kp_phai, Ki_phai, Kd_phai, Kb_phai,
			  sampletime_phai,
			  HILIM_phai, LOLIM_phai,
			  &pid_right,reset_pwmphai);
		pwm_trai=PIDVel(real_setpoint_trai, CurVel_trai,
			  Kp_trai, Ki_trai, Kd_trai ,Kb_trai,
			  sampletime_trai,
			  HILIM_trai, LOLIM_trai,
			  &pid_left,reset_pwmtrai);
		if (DesiredSpeed_phai < 0)
		{
		    pwm_phai = -pwm_phai;  // Quay ngược chiều nếu là vận tốc âm
		    tmp_curvel_phai = -CurVel_phai;
		}
		else tmp_curvel_phai = CurVel_phai;

		if (DesiredSpeed_trai < 0)
		{
		    pwm_trai = -pwm_trai;  // Quay ngược chiều nếu là vận tốc âm
		    tmp_curvel_trai = -CurVel_trai;
		}
		else tmp_curvel_trai = CurVel_trai;
        /* Control section */
		// Lọc vận tốc nhỏ
		if (fabs(tmp_curvel_trai) < 0.001f)
			{
				tmp_curvel_trai = 0;
				CurVel_trai =0;
			}
		if (fabs(tmp_curvel_phai) < 0.001f)
			{
				tmp_curvel_phai = 0;
				CurVel_phai =0;
			}
	 	  /*cập nhật theta và vị trí của robot*/
	 	  CoordinateRobot.floatPresentX += (tmp_curvel_phai + tmp_curvel_trai)*sampling_time*floatWheelRadius*cos(CoordinateRobot.floatTheta)/4;
	 	  CoordinateRobot.floatPresentY += (tmp_curvel_phai + tmp_curvel_trai)*sampling_time*floatWheelRadius*sin(CoordinateRobot.floatTheta)/4;

	 	  CoordinateRobot.floatTheta 	+= (tmp_curvel_phai - tmp_curvel_trai)*sampling_time*floatWheelRadius/(2*floatWheelBase);
	 	  CoordinateRobot.floatTheta     =  normalize_theta(CoordinateRobot.floatTheta);
        // DK mach cau H
        if (pwm_phai > 0) {
            // Quay thuan
            HAL_GPIO_WritePin(IN1_PORT, IN1_PIN, GPIO_PIN_RESET);
            HAL_GPIO_WritePin(IN2_PORT, IN2_PIN, GPIO_PIN_SET);
            __HAL_TIM_SetCompare(&htim3, TIM_CHANNEL_2, pwm_phai);
        }
        else if (pwm_phai < 0)
        {
            // Quay nghich
            HAL_GPIO_WritePin(IN1_PORT, IN1_PIN, GPIO_PIN_SET);
            HAL_GPIO_WritePin(IN2_PORT, IN2_PIN, GPIO_PIN_RESET);
            __HAL_TIM_SetCompare(&htim3, TIM_CHANNEL_2, -pwm_phai);
        }
		if (pwm_trai > 0) {
            // Quay thuan
            HAL_GPIO_WritePin(IN3_PORT, IN5_PIN, GPIO_PIN_SET);
            HAL_GPIO_WritePin(IN4_PORT, IN4_PIN, GPIO_PIN_RESET);
            __HAL_TIM_SetCompare(&htim3, TIM_CHANNEL_1, pwm_trai);
        }
        else if (pwm_trai < 0) {
            // Quay nghich
            HAL_GPIO_WritePin(IN3_PORT, IN5_PIN, GPIO_PIN_RESET);
            HAL_GPIO_WritePin(IN4_PORT, IN4_PIN, GPIO_PIN_SET);
            __HAL_TIM_SetCompare(&htim3, TIM_CHANNEL_1, -pwm_trai);
        }
        if ((pwm_phai>=0 && pwm_phai<=10) || (pwm_trai>=0 && pwm_trai<=10))
        {
            // Stop
            HAL_GPIO_WritePin(IN1_PORT, IN1_PIN, GPIO_PIN_RESET);
            HAL_GPIO_WritePin(IN2_PORT, IN2_PIN, GPIO_PIN_RESET);
            HAL_GPIO_WritePin(IN3_PORT, IN5_PIN, GPIO_PIN_RESET);
            HAL_GPIO_WritePin(IN4_PORT, IN4_PIN, GPIO_PIN_RESET);
            __HAL_TIM_SetCompare(&htim3, TIM_CHANNEL_2, 0);
            __HAL_TIM_SetCompare(&htim3, TIM_CHANNEL_1, 0);
        }
        return;
    }
    if(htim->Instance==TIM2) { /*gui du lieu di 0.04s mot lan nen minipc doc 0.038s mot lan*/
    	send_odometry_binary(CoordinateRobot.floatPresentX, CoordinateRobot.floatPresentY, CoordinateRobot.floatTheta);
    }
}
void HAL_ADC_ConvCpltCallback(ADC_HandleTypeDef* hadc)
{
    if (hadc->Instance == ADC1) {
        bool_adc_ready = true;
    }
}
/*---------------------------ham loc nhieu dem xung encoder----------------*/
float EMA_Filter(int current_value, float previous_value) {
    return alpha * current_value + (1 - alpha) * previous_value;
}
void stopmotor()
{
	DesiredSpeed_trai = 0;
	DesiredSpeed_phai = 0;
}
float normalize_theta(float theta)
{
    while (theta > M_PI) theta -= 2.0f * M_PI;
    while (theta < -M_PI) theta += 2.0f * M_PI;
    return theta;
}
void send_odometry_binary(float x, float y, float theta)
{
    uint8_t buffer[14];
    buffer[0]=0xAA;
    memcpy(&buffer[1], &x, sizeof(float));
    memcpy(&buffer[5], &y, sizeof(float));
    memcpy(&buffer[9], &theta, sizeof(float));
    buffer[13] = 0xFE;

    HAL_UART_Transmit(&huart2, buffer, 14, HAL_MAX_DELAY);
}

/* USER CODE END 4 */

void Error_Handler(void)
{
  __disable_irq();
  while (1)
  {
  }
}
